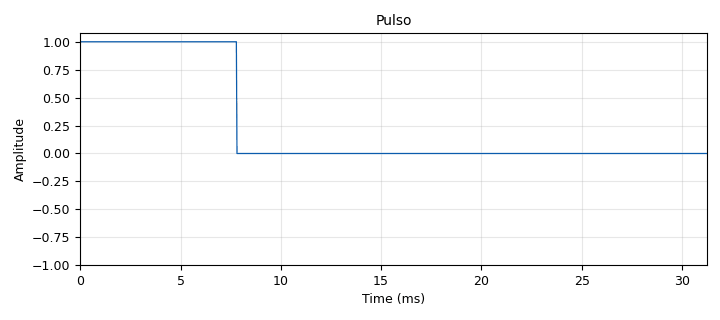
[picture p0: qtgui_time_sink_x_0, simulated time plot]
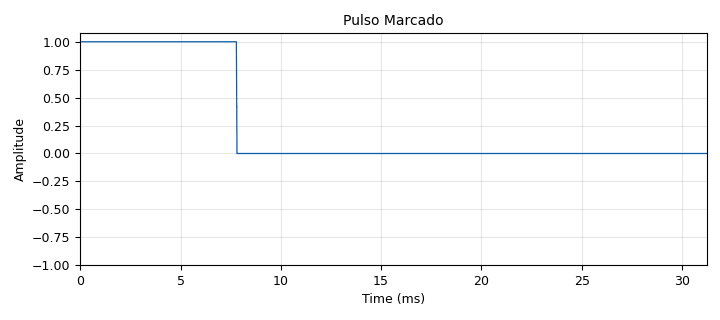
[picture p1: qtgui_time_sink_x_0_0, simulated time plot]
options:
  parameters:
    generate_options: qt_gui
    id: pulse
    output_language: python
    title: Pulse Plot
  states: {}

blocks:
- name: pulse_len
  id: variable
  parameters:
    value: '250'
  states: {}
- name: samp_rate
  id: variable
  parameters:
    value: '32000'
  states: {}
- name: vec_len
  id: variable
  parameters:
    value: int(1e3)
  states: {}
- name: blocks_stream_to_tagged_stream_0
  id: blocks_stream_to_tagged_stream
  parameters:
    len_tag_key: '"packet_len"'
    packet_len: pulse_len
    type: float
  states: {}
- name: blocks_throttle_0
  id: blocks_throttle
  parameters:
    samples_per_second: samp_rate
    type: float
  states: {}
- name: blocks_vector_source_x_0
  id: blocks_vector_source_x
  parameters:
    repeat: 'True'
    type: float
    vector: '[1]*pulse_len + [0]*(vec_len - pulse_len)'
  states: {}
- name: qtgui_time_sink_x_0
  id: qtgui_time_sink_x
  parameters:
    name: Pulso
    size: vec_len
    srate: samp_rate
    type: float
    yunit: V
  states: {}
- name: qtgui_time_sink_x_0_0
  id: qtgui_time_sink_x
  parameters:
    name: Pulso Marcado
    size: vec_len
    srate: samp_rate
    type: float
    yunit: V
  states: {}

connections:
- [blocks_stream_to_tagged_stream_0, '0', qtgui_time_sink_x_0_0, '0']
- [blocks_throttle_0, '0', blocks_stream_to_tagged_stream_0, '0']
- [blocks_throttle_0, '0', qtgui_time_sink_x_0, '0']
- [blocks_vector_source_x_0, '0', blocks_throttle_0, '0']

metadata:
  file_format: 1
